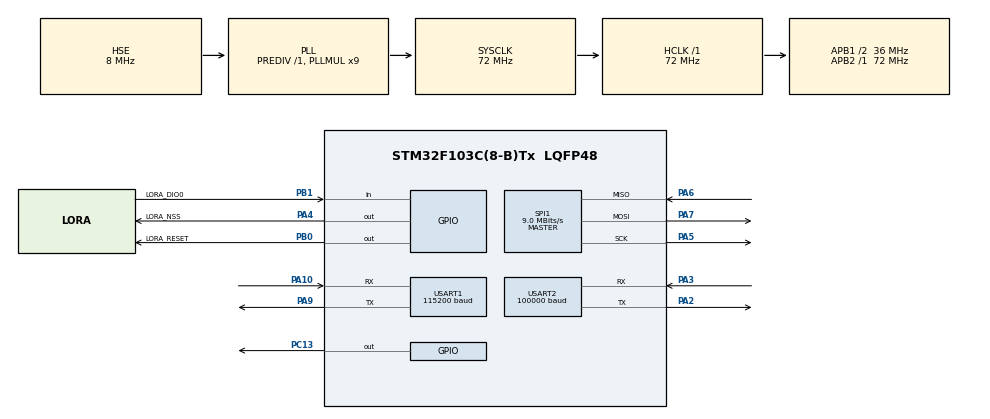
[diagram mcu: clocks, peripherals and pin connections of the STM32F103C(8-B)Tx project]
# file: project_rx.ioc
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Dma.Request0=USART1_RX
Dma.USART1_RX.0.Direction=DMA_PERIPH_TO_MEMORY
Dma.USART1_RX.0.Instance=DMA1_Channel5
Dma.USART1_RX.0.MemDataAlignment=DMA_MDATAALIGN_BYTE
Dma.USART1_RX.0.MemInc=DMA_MINC_ENABLE
Dma.USART1_RX.0.Mode=DMA_NORMAL
Dma.USART1_RX.0.PeriphDataAlignment=DMA_PDATAALIGN_BYTE
Dma.USART1_RX.0.PeriphInc=DMA_PINC_DISABLE
Dma.USART1_RX.0.Priority=DMA_PRIORITY_LOW
Mcu.Family=STM32F1
Mcu.Name=STM32F103C(8-B)Tx
Mcu.Package=LQFP48
NVIC.DMA1_Channel5_IRQn=true\:0\:0\:false\:false\:true\:false\:true\:true
NVIC.PriorityGroup=NVIC_PRIORITYGROUP_4
NVIC.TIM2_IRQn=true\:0\:0\:false\:false\:true\:true\:true\:true
NVIC.USART1_IRQn=true\:0\:0\:false\:false\:true\:true\:true\:true
PA10.Mode=Asynchronous
PA10.Signal=USART1_RX
PA13.Mode=Serial_Wire
PA13.Signal=SYS_JTMS-SWDIO
PA14.Mode=Serial_Wire
PA14.Signal=SYS_JTCK-SWCLK
PA2.Mode=Asynchronous
PA2.Signal=USART2_TX
PA3.Mode=Asynchronous
PA3.Signal=USART2_RX
PA4.GPIO_Label=LORA_NSS
PA4.GPIO_Speed=GPIO_SPEED_FREQ_HIGH
PA4.Signal=GPIO_Output
PA5.Mode=Full_Duplex_Master
PA5.Signal=SPI1_SCK
PA6.Mode=Full_Duplex_Master
PA6.Signal=SPI1_MISO
PA7.Mode=Full_Duplex_Master
PA7.Signal=SPI1_MOSI
PA9.Mode=Asynchronous
PA9.Signal=USART1_TX
PB0.GPIO_Label=LORA_RESET
PB0.GPIO_Speed=GPIO_SPEED_FREQ_HIGH
PB0.Signal=GPIO_Output
PB1.GPIO_Label=LORA_DIO0
PB1.Signal=GPIO_Input
PC13-TAMPER-RTC.Signal=GPIO_Output
PC14-OSC32_IN.Mode=LSE-External-Oscillator
PC14-OSC32_IN.Signal=RCC_OSC32_IN
PC15-OSC32_OUT.Mode=LSE-External-Oscillator
PC15-OSC32_OUT.Signal=RCC_OSC32_OUT
PD0-OSC_IN.Mode=HSE-External-Oscillator
PD0-OSC_IN.Signal=RCC_OSC_IN
PD1-OSC_OUT.Mode=HSE-External-Oscillator
PD1-OSC_OUT.Signal=RCC_OSC_OUT
ProjectManager.HeapSize=0x200
ProjectManager.StackSize=0x400
ProjectManager.TargetToolchain=MDK-ARM V5.32
RCC.AHBFreq_Value=72000000
RCC.APB1CLKDivider=RCC_HCLK_DIV2
RCC.APB1Freq_Value=36000000
RCC.APB1TimFreq_Value=72000000
RCC.APB2Freq_Value=72000000
RCC.APB2TimFreq_Value=72000000
RCC.HCLKFreq_Value=72000000
RCC.PLLMUL=RCC_PLL_MUL9
RCC.PLLSourceVirtual=RCC_PLLSOURCE_HSE
RCC.SYSCLKFreq_VALUE=72000000
RCC.SYSCLKSource=RCC_SYSCLKSOURCE_PLLCLK
RCC.USBFreq_Value=72000000
SPI1.BaudRatePrescaler=SPI_BAUDRATEPRESCALER_8
SPI1.CalculateBaudRate=9.0 MBits/s
SPI1.Direction=SPI_DIRECTION_2LINES
SPI1.Mode=SPI_MODE_MASTER
SPI1.VirtualType=VM_MASTER
TIM2.Period=13
TIM2.Prescaler=35999
USART1.BaudRate=115200
USART1.Parity=PARITY_NONE
USART1.StopBits=STOPBITS_1
USART1.VirtualMode=VM_ASYNC
USART1.WordLength=WORDLENGTH_8B
USART2.BaudRate=100000
USART2.Mode=MODE_TX
USART2.Parity=PARITY_EVEN
USART2.StopBits=STOPBITS_2
USART2.VirtualMode=VM_ASYNC
USART2.WordLength=WORDLENGTH_9B
VP_TIM2_VS_ClockSourceINT.Mode=Internal
board=custom

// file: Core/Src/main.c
/* USER CODE BEGIN Header */
/**
  ******************************************************************************
  * @file           : main.c
  * @brief          : Main program body
  ******************************************************************************
  * @attention
  *
  * Copyright (c) 2026 STMicroelectronics.
  * All rights reserved.
  *
  * This software is licensed under terms that can be found in the LICENSE file
  * in the root directory of this software component.
  * If no LICENSE file comes with this software, it is provided AS-IS.
  *
  ******************************************************************************
  */
/* USER CODE END Header */
#include "main.h"
#include "dma.h"
#include "spi.h"
#include "tim.h"
#include "usart.h"
#include "gpio.h"

/* USER CODE BEGIN Includes */
#include <stdio.h>
#include "remote.h"
#include <string.h>
#include "protocol.h"
#include "sbus.h"
#include "RFsx1276.h"
/* USER CODE END Includes */

/* USER CODE BEGIN PV */
Channels_t ch;
Frame rx;
uint8_t dma_rx_buf[32];
SBUS_FRAME sbus;
uint8_t rx_ready = 0;
uint32_t last_time = 0;
typedef enum{
    STATE_INIT = 0,
    STATE_NORMAL,
    STATE_FAILSAFE
}SystemState;
SystemState current_state = STATE_INIT;
/* USER CODE END PV */

void SystemClock_Config(void);
/* USER CODE BEGIN PFP */
void apply_failsafe(void);
void debug_frame(FrameStatus st);
/* USER CODE END PFP */

/* USER CODE BEGIN 0 */
void uart_send_string(const char *str)
{
    HAL_UART_Transmit(&huart1, (uint8_t *)str, strlen(str), HAL_MAX_DELAY);
}

/* USER CODE END 0 */

int main(void)
{

  /* MCU Configuration--------------------------------------------------------*/

  /* Reset of all peripherals, Initializes the Flash interface and the Systick. */
  HAL_Init();

  /* Configure the system clock */
  SystemClock_Config();

  /* Initialize all configured peripherals */
  MX_GPIO_Init();
  MX_DMA_Init();
  MX_USART1_UART_Init();
  MX_USART2_UART_Init();
  MX_TIM2_Init();
  MX_SPI1_Init();
  /* USER CODE BEGIN 2 */
  RF_Sx1276_Init();
  HAL_TIM_Base_Start_IT(&htim2);
//   HAL_UARTEx_ReceiveToIdle_DMA(&huart1, dma_rx_buf, sizeof(dma_rx_buf));
  SX1276StartRx();
  /* USER CODE END 2 */

  /* Infinite loop */
  /* USER CODE BEGIN WHILE */
  while (1)
  {
      uint32_t result=SX1276Process();
      if (result == RF_RX_DONE)
    {
      uint16_t size;
      SX1276GetRxPacket(dma_rx_buf, &size);
      if (frame_parser(dma_rx_buf, size, &rx))
      {
          FrameStatus fs = frame_check(&rx);
          if(fs==FRAME_OK)
        {
          frame_getchannels(&rx, &ch);
          last_time = HAL_GetTick();
          current_state = STATE_NORMAL;
        }
        else
        {
            debug_frame(fs);
        }
      }
    }
      if (HAL_GetTick() - last_time > 500)
      {
          current_state = STATE_FAILSAFE;
          apply_failsafe();
      }
      else if (current_state == STATE_FAILSAFE)
      {
          current_state = STATE_NORMAL;
      }
      // if(rx_ready)
      // {

      // }
      /* USER CODE END WHILE */

  }
}

void SystemClock_Config(void)
{
  RCC_OscInitTypeDef RCC_OscInitStruct = {0};
  RCC_ClkInitTypeDef RCC_ClkInitStruct = {0};

  /** Initializes the RCC Oscillators according to the specified parameters
  * in the RCC_OscInitTypeDef structure.
  */
  RCC_OscInitStruct.OscillatorType = RCC_OSCILLATORTYPE_HSE;
  RCC_OscInitStruct.HSEState = RCC_HSE_ON;
  RCC_OscInitStruct.HSEPredivValue = RCC_HSE_PREDIV_DIV1;
  RCC_OscInitStruct.HSIState = RCC_HSI_ON;
  RCC_OscInitStruct.PLL.PLLState = RCC_PLL_ON;
  RCC_OscInitStruct.PLL.PLLSource = RCC_PLLSOURCE_HSE;
  RCC_OscInitStruct.PLL.PLLMUL = RCC_PLL_MUL9;
  if (HAL_RCC_OscConfig(&RCC_OscInitStruct) != HAL_OK)
  {
    Error_Handler();
  }

  /** Initializes the CPU, AHB and APB buses clocks
  */
  RCC_ClkInitStruct.ClockType = RCC_CLOCKTYPE_HCLK|RCC_CLOCKTYPE_SYSCLK
                              |RCC_CLOCKTYPE_PCLK1|RCC_CLOCKTYPE_PCLK2;
  RCC_ClkInitStruct.SYSCLKSource = RCC_SYSCLKSOURCE_PLLCLK;
  RCC_ClkInitStruct.AHBCLKDivider = RCC_SYSCLK_DIV1;
  RCC_ClkInitStruct.APB1CLKDivider = RCC_HCLK_DIV2;
  RCC_ClkInitStruct.APB2CLKDivider = RCC_HCLK_DIV1;

  if (HAL_RCC_ClockConfig(&RCC_ClkInitStruct, FLASH_LATENCY_2) != HAL_OK)
  {
    Error_Handler();
  }
}

/* USER CODE BEGIN 4 */

 void debug_frame(FrameStatus st)
 {
     switch (st)
    {
    case FRAME_HEAD_ERR:
            uart_send_string("HEAD ERROR!\r\n");
            break;

    case FRAME_LEN_ERR:
            uart_send_string("LEN ERRPR!\r\n");
            break;

    case FRAME_CRC_ERR:
            uart_send_string("CRC ERROR!\r\n");
            break;
    case FRAME_TYPE_ERR:
            uart_send_string("TYPE ERROR!\r\n");
            break;
     default:
             break;
    }
 }
// void HAL_UARTEx_RxEventCallback(UART_HandleTypeDef *huart, uint16_t size)
// {
//     if (huart->Instance == USART1)
//     {
//         FrameStatus fs;
//         // if (size == sizeof(Frame))
//         //
//         if (frame_parser(dma_rx_buf, size, &rx))
//         {
//             fs=frame_check(&rx);
//             // memcpy(&rx, dma_rx_buf, sizeof(Frame));
//             if (fs != FRAME_OK)
//             {
//                 // debug_frame(fs);

//             }
//             else
//             {
//                 rx_ready=1;
//                 frame_getchannels(&rx,&ch);
//                 HAL_GPIO_TogglePin(GPIOC,GPIO_PIN_13);
//             }

//         }
//         HAL_UARTEx_ReceiveToIdle_DMA(&huart1, dma_rx_buf, sizeof(dma_rx_buf));
//     }
// }

// void HAL_UART_ErrorCallback(UART_HandleTypeDef *huart)
// {
//     if (huart->Instance == USART1)
//     {
//         HAL_UARTEx_ReceiveToIdle_DMA(&huart1, dma_rx_buf, sizeof(dma_rx_buf));
//     }
// }

void apply_failsafe(void)
{
    ch.roll = 0;
    ch.pitch = 0;
    ch.yaw = 0;
    ch.throttle = 0;
}

void HAL_TIM_PeriodElapsedCallback(TIM_HandleTypeDef *htim)
{
    if (htim->Instance == TIM2)
    {
        sbus_encoder((int16_t *)&ch, &sbus);
        sbus_send(&sbus);
    }
}
/* USER CODE END 4 */

void Error_Handler(void)
{
  __disable_irq();
  while (1)
  {
  }
}
